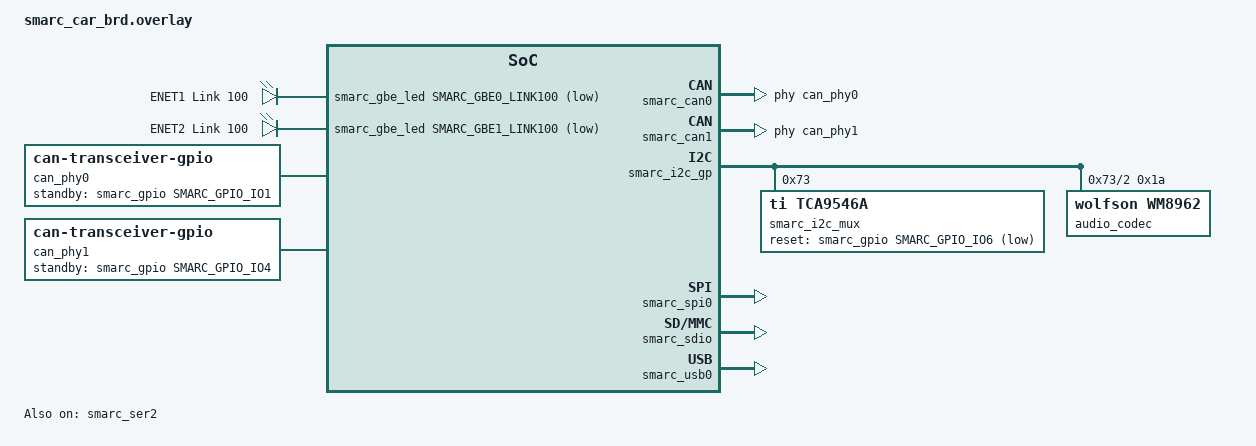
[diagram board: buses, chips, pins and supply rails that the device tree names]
/*
 * SPDX-FileCopyrightText: Copyright 2026 Ezurio
 * SPDX-License-Identifier: Apache-2.0
 */

#include <dt-bindings/gpio/smarc-gpio.h>
#include <dt-bindings/gpio/smarc-gbe.h>

/ {
	chosen {
		zephyr,canbus = &smarc_can0;
	};

	aliases {
		led0 = &carrier_led0;
		led1 = &carrier_led1;
		i2s-codec-tx = &smarc_i2s0;
		i2s-tx = &smarc_i2s0;
	};

	leds {
		compatible = "gpio-leds";

		carrier_led0: led_0 {
			label = "ENET1 Link 100";
			gpios = <&smarc_gbe_led SMARC_GBE0_LINK100 GPIO_ACTIVE_LOW>;
		};

		carrier_led1: led_1 {
			label = "ENET2 Link 100";
			gpios = <&smarc_gbe_led SMARC_GBE1_LINK100 GPIO_ACTIVE_LOW>;
		};
	};

	can_phy0: can-phy0 {
		compatible = "can-transceiver-gpio";
		standby-gpios = <&smarc_gpio SMARC_GPIO_IO1 GPIO_ACTIVE_HIGH>;
		max-bitrate = <5000000>;
		#phy-cells = <0>;
		status = "okay";
	};

	can_phy1: can-phy1 {
		compatible = "can-transceiver-gpio";
		standby-gpios = <&smarc_gpio SMARC_GPIO_IO4 GPIO_ACTIVE_HIGH>;
		max-bitrate = <5000000>;
		#phy-cells = <0>;
		status = "okay";
	};
};

&smarc_can0 {
	phys = <&can_phy0>;
	status = "okay";
};

&smarc_can1 {
	phys = <&can_phy1>;
	status = "okay";
};

&smarc_ser2 {
	current-speed = <115200>;
	status = "okay";
};

&smarc_i2c_gp {
	smarc_i2c_mux: tca9546a@73 {
		compatible = "ti,tca9546a";
		reg = <0x73>;
		#address-cells = <1>;
		#size-cells = <0>;
		status = "okay";
		reset-gpios = <&smarc_gpio SMARC_GPIO_IO6 GPIO_ACTIVE_LOW>;

		smarc_i2c_gp_rtc: mux_i2c@0 {
			/* Real-time clock I2C channel */
			reg = <0>;
			#address-cells = <1>;
			#size-cells = <0>;
		};

		smarc_i2c_gp_usbc: mux_i2c@1 {
			/* USB-C I2C channel */
			reg = <1>;
			#address-cells = <1>;
			#size-cells = <0>;
		};

		smarc_i2c_gp_audio: mux_i2c@2 {
			/* Audio I2C channel */
			reg = <2>;
			#address-cells = <1>;
			#size-cells = <0>;

			audio_codec: wm8962@1a {
				compatible = "wolfson,wm8962";
				reg = <0x1a>;
				clock-source = "MCLK";
				clock-names = "mclk";
				status = "okay";
			};
		};

		smarc_i2c_gp_pcie: mux_i2c@3 {
			/* PCIe I2C channel */
			reg = <3>;
			#address-cells = <1>;
			#size-cells = <0>;
		};
	};
};

&smarc_spi0 {
	status = "okay";
};

&smarc_sdio {
	status = "okay";

	sdmmc {
		status = "okay";
	};
};

&smarc_usb0 {
	status = "okay";
};
